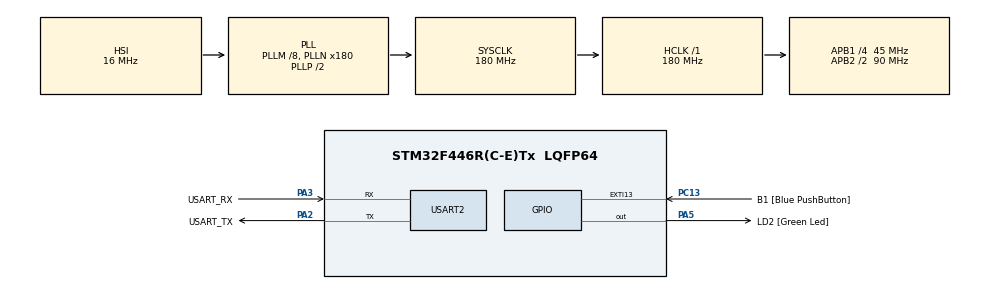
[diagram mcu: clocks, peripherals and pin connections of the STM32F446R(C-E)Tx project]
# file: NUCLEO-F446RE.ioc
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board=NUCLEO-F446RE2
Mcu.Family=STM32F4
Mcu.Name=STM32F446R(C-E)Tx
Mcu.Package=LQFP64
NVIC.PriorityGroup=NVIC_PRIORITYGROUP_0
PA13.GPIO_Label=TMS
PA13.Signal=SYS_JTMS-SWDIO
PA14.GPIO_Label=TCK
PA14.Signal=SYS_JTCK-SWCLK
PA2.GPIO_Label=USART_TX
PA2.Mode=Asynchronous
PA2.Signal=USART2_TX
PA3.GPIO_Label=USART_RX
PA3.GPIO_PuPd=GPIO_PULLUP
PA3.Mode=Asynchronous
PA3.Signal=USART2_RX
PA5.GPIO_Label=LD2 [Green Led]
PA5.Signal=GPIO_Output
PB3.GPIO_Label=SWO
PB3.Signal=SYS_JTDO-SWO
PC13.GPIO_Label=B1 [Blue PushButton]
PC13.GPIO_ModeDefaultEXTI=GPIO_MODE_IT_FALLING
PC13.Signal=GPXTI13
PC14-OSC32_IN.Signal=RCC_OSC32_IN
PC15-OSC32_OUT.Signal=RCC_OSC32_OUT
PH0-OSC_IN.Signal=RCC_OSC_IN
PH1-OSC_OUT.Signal=RCC_OSC_OUT
ProjectManager.HeapSize=0x800
ProjectManager.StackSize=0x800
ProjectManager.TargetToolchain=STM32CubeIDE
RCC.AHBFreq_Value=180000000
RCC.APB1CLKDivider=RCC_HCLK_DIV4
RCC.APB1Freq_Value=45000000
RCC.APB1TimFreq_Value=90000000
RCC.APB2CLKDivider=RCC_HCLK_DIV2
RCC.APB2Freq_Value=90000000
RCC.APB2TimFreq_Value=180000000
RCC.CortexFreq_Value=180000000
RCC.FLatency-AdvancedSettings=FLASH_LATENCY_5
RCC.HCLKFreq_Value=180000000
RCC.HSE_VALUE=8000000
RCC.HSI_VALUE=16000000
RCC.LSE_VALUE=32768
RCC.PLLM=8
RCC.PLLN=180
RCC.PLLP=2
RCC.SYSCLKFreq_VALUE=180000000
RCC.SYSCLKSource=RCC_SYSCLKSOURCE_PLLCLK
RCC.USBFreq_Value=180000000
RCC.VCOOutputFreq_Value=360000000
STMicroelectronics.X-CUBE-AI.10.1.0.ActivationBuffers=pool0
STMicroelectronics.X-CUBE-AI.10.1.0.ActivationBufferSizeList=8372
STMicroelectronics.X-CUBE-AI.10.1.0.ActivationNames=pool0
STMicroelectronics.X-CUBE-AI.10.1.0.ActivationSizes=AI_NETWORK_DATA_ACTIVATION_1_SIZE
STMicroelectronics.X-CUBE-AI.10.1.0.ApplicationCcDeviceJjApplication=SystemPerformance
STMicroelectronics.X-CUBE-AI.10.1.0.BSP.number=1
STMicroelectronics.X-CUBE-AI.10.1.0.copyWeightToRam=false
STMicroelectronics.X-CUBE-AI.10.1.0.copyWeightToRam-7f78f8ef4f7bd567a6e89b7250675164b12e4d13c60b7733bc87981643f2bb6e=false
STMicroelectronics.X-CUBE-AI.10.1.0.customLayerConfigEnabled=false
STMicroelectronics.X-CUBE-AI.10.1.0.customLayerConfigEnabled-7f78f8ef4f7bd567a6e89b7250675164b12e4d13c60b7733bc87981643f2bb6e=false
STMicroelectronics.X-CUBE-AI.10.1.0.ExternalRamActivationBufferMaxSize=8372
STMicroelectronics.X-CUBE-AI.10.1.0.HeapSize=0x800
STMicroelectronics.X-CUBE-AI.10.1.0.InternalRamActivationBufferMaxSize=AI_NETWORK_DATA_ACTIVATIONS_SIZE
STMicroelectronics.X-CUBE-AI.10.1.0.MaximumNumberOfInputLayer=1
STMicroelectronics.X-CUBE-AI.10.1.0.maximumNumberOfInputLayer=1
STMicroelectronics.X-CUBE-AI.10.1.0.MaximumNumberOfOutputLayer=1
STMicroelectronics.X-CUBE-AI.10.1.0.maximumNumberOfOutputLayer=1
STMicroelectronics.X-CUBE-AI.10.1.0.MaximumSizeOfInputLayer=1
STMicroelectronics.X-CUBE-AI.10.1.0.MaximumSizeOfOutputLayer=1
STMicroelectronics.X-CUBE-AI.10.1.0.memoryPool0driver-7f78f8ef4f7bd567a6e89b7250675164b12e4d13c60b7733bc87981643f2bb6e=RAM
STMicroelectronics.X-CUBE-AI.10.1.0.memoryPool0id-7f78f8ef4f7bd567a6e89b7250675164b12e4d13c60b7733bc87981643f2bb6e=0
STMicroelectronics.X-CUBE-AI.10.1.0.memoryPool0max-7f78f8ef4f7bd567a6e89b7250675164b12e4d13c60b7733bc87981643f2bb6e=128
STMicroelectronics.X-CUBE-AI.10.1.0.memoryPool0name-7f78f8ef4f7bd567a6e89b7250675164b12e4d13c60b7733bc87981643f2bb6e=POOL_0_RAM
STMicroelectronics.X-CUBE-AI.10.1.0.memoryPool0size-7f78f8ef4f7bd567a6e89b7250675164b12e4d13c60b7733bc87981643f2bb6e=114
STMicroelectronics.X-CUBE-AI.10.1.0.memoryPool0start-7f78f8ef4f7bd567a6e89b7250675164b12e4d13c60b7733bc87981643f2bb6e=0x20000000
STMicroelectronics.X-CUBE-AI.10.1.0.memoryPool0used-7f78f8ef4f7bd567a6e89b7250675164b12e4d13c60b7733bc87981643f2bb6e=0
STMicroelectronics.X-CUBE-AI.10.1.0.ModelActualCompression-7f78f8ef4f7bd567a6e89b7250675164b12e4d13c60b7733bc87981643f2bb6e=0.0
STMicroelectronics.X-CUBE-AI.10.1.0.ModelCompression-7f78f8ef4f7bd567a6e89b7250675164b12e4d13c60b7733bc87981643f2bb6e=Lossless
STMicroelectronics.X-CUBE-AI.10.1.0.ModelFlashOccupation-7f78f8ef4f7bd567a6e89b7250675164b12e4d13c60b7733bc87981643f2bb6e=26262
STMicroelectronics.X-CUBE-AI.10.1.0.ModelHashList=7f78f8ef4f7bd567a6e89b7250675164b12e4d13c60b7733bc87981643f2bb6e
STMicroelectronics.X-CUBE-AI.10.1.0.ModelKind-7f78f8ef4f7bd567a6e89b7250675164b12e4d13c60b7733bc87981643f2bb6e=TFLITE
STMicroelectronics.X-CUBE-AI.10.1.0.ModelMacc-7f78f8ef4f7bd567a6e89b7250675164b12e4d13c60b7733bc87981643f2bb6e=4013
STMicroelectronics.X-CUBE-AI.10.1.0.ModelName-7f78f8ef4f7bd567a6e89b7250675164b12e4d13c60b7733bc87981643f2bb6e=network
STMicroelectronics.X-CUBE-AI.10.1.0.ModelNameList=network
STMicroelectronics.X-CUBE-AI.10.1.0.ModelRamOccupation-7f78f8ef4f7bd567a6e89b7250675164b12e4d13c60b7733bc87981643f2bb6e=2516
STMicroelectronics.X-CUBE-AI.10.1.0.ModelStructureFile-7f78f8ef4f7bd567a6e89b7250675164b12e4d13c60b7733bc87981643f2bb6e=mnist_cnn.tflite
STMicroelectronics.X-CUBE-AI.10.1.0.ModelType-7f78f8ef4f7bd567a6e89b7250675164b12e4d13c60b7733bc87981643f2bb6e=STM32Cube.AI runtime
STMicroelectronics.X-CUBE-AI.10.1.0.noOnnxIoTranspose=false
STMicroelectronics.X-CUBE-AI.10.1.0.optimization-7f78f8ef4f7bd567a6e89b7250675164b12e4d13c60b7733bc87981643f2bb6e=ram
STMicroelectronics.X-CUBE-AI.10.1.0.ProjectManager.HeapSize=0x800
STMicroelectronics.X-CUBE-AI.10.1.0.ProjectManager.StackSize=0x800
STMicroelectronics.X-CUBE-AI.10.1.0.StackSize=0x800
STMicroelectronics.X-CUBE-AI.10.1.0.useInputAllocation=true
STMicroelectronics.X-CUBE-AI.10.1.0.useInputAllocation-7f78f8ef4f7bd567a6e89b7250675164b12e4d13c60b7733bc87981643f2bb6e=false
STMicroelectronics.X-CUBE-AI.10.1.0.useOutputAllocation=true
STMicroelectronics.X-CUBE-AI.10.1.0.useOutputAllocation-7f78f8ef4f7bd567a6e89b7250675164b12e4d13c60b7733bc87981643f2bb6e=false
STMicroelectronics.X-CUBE-AI.10.1.0.WorkingBufferStartAddrList=0xFFFFFFFF
STMicroelectronics.X-CUBE-AI.10.1.0.XAaCUBEAaAICcArtificialOoIntelligenceJjCore=true
STMicroelectronics.X-CUBE-AI.10.1.00.BSP.api=Unknown
STMicroelectronics.X-CUBE-AI.10.1.00.BSP.condition=\!SEMDeviceJjApplicationJjApplicationTemplate
STMicroelectronics.X-CUBE-AI.10.1.00.BSP.instance=USART2
STMicroelectronics.X-CUBE-AI.10.1.00.BSP.ip=USART
STMicroelectronics.X-CUBE-AI.10.1.00.BSP.mode=Asynchronous
STMicroelectronics.X-CUBE-AI.10.1.00.BSP.name=COM Port
STMicroelectronics.X-CUBE-AI.10.1.00.BSP.solution=USART2
STMicroelectronics.X-CUBE-AI.10.1.00.BSP.STBoard=false
USART2.VirtualMode=VM_ASYNC
VP_STMicroelectronics.X-CUBE-AI_VS_ArtificialOoIntelligenceJjXAaCUBEAaAI_10.1.0.Mode=ArtificialOoIntelligenceJjXAaCUBEAaAI
VP_STMicroelectronics.X-CUBE-AI_VS_DeviceJjApplication_10.1.0.Mode=DeviceJjApplication

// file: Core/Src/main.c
/* USER CODE BEGIN Header */
/**
  ******************************************************************************
  * @file           : main.c
  * @brief          : Main program body
  ******************************************************************************
  */
/* USER CODE END Header */
#include "main.h"
#include "app_x-cube-ai.h"

/* USER CODE BEGIN Includes */
#include "network.h"
#include "network_data.h"
#include <stdio.h>
/* USER CODE END Includes */

UART_HandleTypeDef huart2;

/* USER CODE BEGIN PV */

// =============================================================
// 1. AI MODEL DEĞİŞKENLERİ
// =============================================================
ai_handle network = AI_HANDLE_NULL;

// Modelin çalışırken RAM'de ihtiyaç duyduğu geçici alan (Activations)
ai_u8 activations[AI_NETWORK_DATA_ACTIVATIONS_SIZE];

// Çıktı verileri
float ai_output_data[10];

// Giriş ve Çıkış Buffer Pointerları
ai_buffer *ai_input;
ai_buffer *ai_output;

// Tahmin Sonuçları
int predicted_digit = -1;
float max_probability = 0.0f;

// =============================================================
// 2. TEST GÖRÜNTÜSÜ (PYTHON ÇIKTISI)
// =============================================================
// LÜTFEN PYTHON'DAN ALDIĞIN ÇIKTIYI BURAYA YAPIŞTIR
const float test_image_7[28 * 28 * 1] = {
		0.000000f, 0.000000f, 0.000000f, 0.000000f, 0.000000f, 0.000000f, 0.000000f, 0.000000f, 0.000000f, 0.000000f,
		0.000000f, 0.000000f, 0.000000f, 0.000000f, 0.000000f, 0.000000f, 0.000000f, 0.000000f, 0.000000f, 0.000000f,
		0.000000f, 0.000000f, 0.000000f, 0.000000f, 0.000000f, 0.000000f, 0.000000f, 0.000000f, 0.000000f, 0.000000f,
		0.000000f, 0.000000f, 0.000000f, 0.000000f, 0.000000f, 0.000000f, 0.000000f, 0.000000f, 0.000000f, 0.000000f,
		0.000000f, 0.000000f, 0.000000f, 0.000000f, 0.000000f, 0.000000f, 0.000000f, 0.000000f, 0.000000f, 0.000000f,
		0.000000f, 0.000000f, 0.000000f, 0.000000f, 0.000000f, 0.000000f, 0.000000f, 0.000000f, 0.000000f, 0.000000f,
		0.000000f, 0.000000f, 0.000000f, 0.000000f, 0.000000f, 0.000000f, 0.000000f, 0.000000f, 0.000000f, 0.000000f,
		0.000000f, 0.000000f, 0.000000f, 0.000000f, 0.000000f, 0.000000f, 0.000000f, 0.000000f, 0.000000f, 0.000000f,
		0.000000f, 0.000000f, 0.000000f, 0.000000f, 0.000000f, 0.000000f, 0.000000f, 0.000000f, 0.000000f, 0.000000f,
		0.000000f, 0.000000f, 0.000000f, 0.000000f, 0.000000f, 0.000000f, 0.000000f, 0.000000f, 0.000000f, 0.000000f,
		0.000000f, 0.000000f, 0.000000f, 0.000000f, 0.000000f, 0.000000f, 0.000000f, 0.000000f, 0.000000f, 0.000000f,
		0.000000f, 0.000000f, 0.000000f, 0.000000f, 0.000000f, 0.000000f, 0.000000f, 0.000000f, 0.000000f, 0.000000f,
		0.000000f, 0.000000f, 0.000000f, 0.000000f, 0.000000f, 0.000000f, 0.000000f, 0.000000f, 0.000000f, 0.000000f,
		0.000000f, 0.000000f, 0.000000f, 0.000000f, 0.000000f, 0.000000f, 0.000000f, 0.000000f, 0.000000f, 0.000000f,
		0.000000f, 0.000000f, 0.000000f, 0.000000f, 0.000000f, 0.000000f, 0.000000f, 0.000000f, 0.000000f, 0.000000f,
		0.000000f, 0.000000f, 0.000000f, 0.000000f, 0.000000f, 0.000000f, 0.000000f, 0.000000f, 0.000000f, 0.000000f,
		0.000000f, 0.000000f, 0.000000f, 0.000000f, 0.000000f, 0.000000f, 0.000000f, 0.000000f, 0.000000f, 0.000000f,
		0.000000f, 0.000000f, 0.000000f, 0.000000f, 0.000000f, 0.000000f, 0.000000f, 0.000000f, 0.000000f, 0.000000f,
		0.000000f, 0.000000f, 0.000000f, 0.000000f, 0.000000f, 0.000000f, 0.000000f, 0.000000f, 0.000000f, 0.000000f,
		0.000000f, 0.000000f, 0.000000f, 0.000000f, 0.000000f, 0.000000f, 0.000000f, 0.000000f, 0.000000f, 0.000000f,
		0.000000f, 0.000000f, 0.329412f, 0.725490f, 0.623529f, 0.592157f, 0.235294f, 0.141176f, 0.000000f, 0.000000f,
		0.000000f, 0.000000f, 0.000000f, 0.000000f, 0.000000f, 0.000000f, 0.000000f, 0.000000f, 0.000000f, 0.000000f,
		0.000000f, 0.000000f, 0.000000f, 0.000000f, 0.000000f, 0.000000f, 0.000000f, 0.000000f, 0.000000f, 0.000000f,
		0.870588f, 0.996078f, 0.996078f, 0.996078f, 0.996078f, 0.945098f, 0.776471f, 0.776471f, 0.776471f, 0.776471f,
		0.776471f, 0.776471f, 0.776471f, 0.776471f, 0.666667f, 0.203922f, 0.000000f, 0.000000f, 0.000000f, 0.000000f,
		0.000000f, 0.000000f, 0.000000f, 0.000000f, 0.000000f, 0.000000f, 0.000000f, 0.000000f, 0.262745f, 0.447059f,
		0.282353f, 0.447059f, 0.639216f, 0.890196f, 0.996078f, 0.882353f, 0.996078f, 0.996078f, 0.996078f, 0.980392f,
		0.898039f, 0.996078f, 0.996078f, 0.549020f, 0.000000f, 0.000000f, 0.000000f, 0.000000f, 0.000000f, 0.000000f,
		0.000000f, 0.000000f, 0.000000f, 0.000000f, 0.000000f, 0.000000f, 0.000000f, 0.000000f, 0.000000f, 0.000000f,
		0.000000f, 0.066667f, 0.258824f, 0.054902f, 0.262745f, 0.262745f, 0.262745f, 0.231373f, 0.082353f, 0.925490f,
		0.996078f, 0.415686f, 0.000000f, 0.000000f, 0.000000f, 0.000000f, 0.000000f, 0.000000f, 0.000000f, 0.000000f,
		0.000000f, 0.000000f, 0.000000f, 0.000000f, 0.000000f, 0.000000f, 0.000000f, 0.000000f, 0.000000f, 0.000000f,
		0.000000f, 0.000000f, 0.000000f, 0.000000f, 0.000000f, 0.000000f, 0.325490f, 0.992157f, 0.819608f, 0.070588f,
		0.000000f, 0.000000f, 0.000000f, 0.000000f, 0.000000f, 0.000000f, 0.000000f, 0.000000f, 0.000000f, 0.000000f,
		0.000000f, 0.000000f, 0.000000f, 0.000000f, 0.000000f, 0.000000f, 0.000000f, 0.000000f, 0.000000f, 0.000000f,
		0.000000f, 0.000000f, 0.000000f, 0.086275f, 0.913725f, 1.000000f, 0.325490f, 0.000000f, 0.000000f, 0.000000f,
		0.000000f, 0.000000f, 0.000000f, 0.000000f, 0.000000f, 0.000000f, 0.000000f, 0.000000f, 0.000000f, 0.000000f,
		0.000000f, 0.000000f, 0.000000f, 0.000000f, 0.000000f, 0.000000f, 0.000000f, 0.000000f, 0.000000f, 0.000000f,
		0.000000f, 0.505882f, 0.996078f, 0.933333f, 0.172549f, 0.000000f, 0.000000f, 0.000000f, 0.000000f, 0.000000f,
		0.000000f, 0.000000f, 0.000000f, 0.000000f, 0.000000f, 0.000000f, 0.000000f, 0.000000f, 0.000000f, 0.000000f,
		0.000000f, 0.000000f, 0.000000f, 0.000000f, 0.000000f, 0.000000f, 0.000000f, 0.000000f, 0.231373f, 0.976471f,
		0.996078f, 0.243137f, 0.000000f, 0.000000f, 0.000000f, 0.000000f, 0.000000f, 0.000000f, 0.000000f, 0.000000f,
		0.000000f, 0.000000f, 0.000000f, 0.000000f, 0.000000f, 0.000000f, 0.000000f, 0.000000f, 0.000000f, 0.000000f,
		0.000000f, 0.000000f, 0.000000f, 0.000000f, 0.000000f, 0.000000f, 0.521569f, 0.996078f, 0.733333f, 0.019608f,
		0.000000f, 0.000000f, 0.000000f, 0.000000f, 0.000000f, 0.000000f, 0.000000f, 0.000000f, 0.000000f, 0.000000f,
		0.000000f, 0.000000f, 0.000000f, 0.000000f, 0.000000f, 0.000000f, 0.000000f, 0.000000f, 0.000000f, 0.000000f,
		0.000000f, 0.000000f, 0.000000f, 0.035294f, 0.803922f, 0.972549f, 0.227451f, 0.000000f, 0.000000f, 0.000000f,
		0.000000f, 0.000000f, 0.000000f, 0.000000f, 0.000000f, 0.000000f, 0.000000f, 0.000000f, 0.000000f, 0.000000f,
		0.000000f, 0.000000f, 0.000000f, 0.000000f, 0.000000f, 0.000000f, 0.000000f, 0.000000f, 0.000000f, 0.000000f,
		0.000000f, 0.494118f, 0.996078f, 0.713726f, 0.000000f, 0.000000f, 0.000000f, 0.000000f, 0.000000f, 0.000000f,
		0.000000f, 0.000000f, 0.000000f, 0.000000f, 0.000000f, 0.000000f, 0.000000f, 0.000000f, 0.000000f, 0.000000f,
		0.000000f, 0.000000f, 0.000000f, 0.000000f, 0.000000f, 0.000000f, 0.000000f, 0.000000f, 0.294118f, 0.984314f,
		0.941176f, 0.223529f, 0.000000f, 0.000000f, 0.000000f, 0.000000f, 0.000000f, 0.000000f, 0.000000f, 0.000000f,
		0.000000f, 0.000000f, 0.000000f, 0.000000f, 0.000000f, 0.000000f, 0.000000f, 0.000000f, 0.000000f, 0.000000f,
		0.000000f, 0.000000f, 0.000000f, 0.000000f, 0.000000f, 0.074510f, 0.866667f, 0.996078f, 0.650980f, 0.000000f,
		0.000000f, 0.000000f, 0.000000f, 0.000000f, 0.000000f, 0.000000f, 0.000000f, 0.000000f, 0.000000f, 0.000000f,
		0.000000f, 0.000000f, 0.000000f, 0.000000f, 0.000000f, 0.000000f, 0.000000f, 0.000000f, 0.000000f, 0.000000f,
		0.000000f, 0.000000f, 0.011765f, 0.796078f, 0.996078f, 0.858824f, 0.137255f, 0.000000f, 0.000000f, 0.000000f,
		0.000000f, 0.000000f, 0.000000f, 0.000000f, 0.000000f, 0.000000f, 0.000000f, 0.000000f, 0.000000f, 0.000000f,
		0.000000f, 0.000000f, 0.000000f, 0.000000f, 0.000000f, 0.000000f, 0.000000f, 0.000000f, 0.000000f, 0.000000f,
		0.149020f, 0.996078f, 0.996078f, 0.301961f, 0.000000f, 0.000000f, 0.000000f, 0.000000f, 0.000000f, 0.000000f,
		0.000000f, 0.000000f, 0.000000f, 0.000000f, 0.000000f, 0.000000f, 0.000000f, 0.000000f, 0.000000f, 0.000000f,
		0.000000f, 0.000000f, 0.000000f, 0.000000f, 0.000000f, 0.000000f, 0.000000f, 0.121569f, 0.878431f, 0.996078f,
		0.450980f, 0.003922f, 0.000000f, 0.000000f, 0.000000f, 0.000000f, 0.000000f, 0.000000f, 0.000000f, 0.000000f,
		0.000000f, 0.000000f, 0.000000f, 0.000000f, 0.000000f, 0.000000f, 0.000000f, 0.000000f, 0.000000f, 0.000000f,
		0.000000f, 0.000000f, 0.000000f, 0.000000f, 0.000000f, 0.521569f, 0.996078f, 0.996078f, 0.203922f, 0.000000f,
		0.000000f, 0.000000f, 0.000000f, 0.000000f, 0.000000f, 0.000000f, 0.000000f, 0.000000f, 0.000000f, 0.000000f,
		0.000000f, 0.000000f, 0.000000f, 0.000000f, 0.000000f, 0.000000f, 0.000000f, 0.000000f, 0.000000f, 0.000000f,
		0.000000f, 0.000000f, 0.239216f, 0.949020f, 0.996078f, 0.996078f, 0.203922f, 0.000000f, 0.000000f, 0.000000f,
		0.000000f, 0.000000f, 0.000000f, 0.000000f, 0.000000f, 0.000000f, 0.000000f, 0.000000f, 0.000000f, 0.000000f,
		0.000000f, 0.000000f, 0.000000f, 0.000000f, 0.000000f, 0.000000f, 0.000000f, 0.000000f, 0.000000f, 0.000000f,
		0.474510f, 0.996078f, 0.996078f, 0.858824f, 0.156863f, 0.000000f, 0.000000f, 0.000000f, 0.000000f, 0.000000f,
		0.000000f, 0.000000f, 0.000000f, 0.000000f, 0.000000f, 0.000000f, 0.000000f, 0.000000f, 0.000000f, 0.000000f,
		0.000000f, 0.000000f, 0.000000f, 0.000000f, 0.000000f, 0.000000f, 0.000000f, 0.000000f, 0.474510f, 0.996078f,
		0.811765f, 0.070588f, 0.000000f, 0.000000f, 0.000000f, 0.000000f, 0.000000f, 0.000000f, 0.000000f, 0.000000f,
		0.000000f, 0.000000f, 0.000000f, 0.000000f, 0.000000f, 0.000000f, 0.000000f, 0.000000f, 0.000000f, 0.000000f,
		0.000000f, 0.000000f, 0.000000f, 0.000000f, 0.000000f, 0.000000f, 0.000000f, 0.000000f, 0.000000f, 0.000000f,
		0.000000f, 0.000000f, 0.000000f, 0.000000f, 0.000000f, 0.000000f, 0.000000f, 0.000000f, 0.000000f, 0.000000f,
		0.000000f, 0.000000f, 0.000000f, 0.000000f,
};

/* USER CODE END PV */

void SystemClock_Config(void);
static void MX_GPIO_Init(void);
void MX_USART2_UART_Init(void); // DÜZELTME: 'static' kelimesi kaldırıldı

int main(void)
{
  /* MCU Configuration--------------------------------------------------------*/

  /* Reset of all peripherals, Initializes the Flash interface and the Systick. */
  HAL_Init();

  /* Configure the system clock */
  SystemClock_Config();

  /* Initialize all configured peripherals */
  MX_GPIO_Init();
  MX_USART2_UART_Init();

  // NOT: Otomatik init fonksiyonunu kapattık, manuel yapıyoruz.
  // MX_X_CUBE_AI_Init();

  /* USER CODE BEGIN 2 */

  // =============================================================
  // 3. YAPAY ZEKA MODELİNİ MANUEL BAŞLATMA
  // =============================================================
  ai_error err;

  // DÜZELTME: Ağırlık verisini önce bir struct değişkenine atıyoruz
  const ai_buffer weights_config = AI_NETWORK_DATA_WEIGHTS(ai_network_data_weights_get());

  // Ağı oluştur (Artık struct'ın adresini '&' ile gönderiyoruz)
  err = ai_network_create(&network, &weights_config);

  if (err.type != AI_ERROR_NONE) {
      // Hata: Model oluşturulamadı
      while(1);
  }

  // Parametreleri ayarla
  const ai_network_params params = AI_NETWORK_PARAMS_INIT(
      AI_NETWORK_DATA_WEIGHTS(ai_network_data_weights_get()),
      AI_NETWORK_DATA_ACTIVATIONS(activations)
  );

  // Ağı init et
  if (!ai_network_init(network, &params)) {
      // Hata: Init başarısız
      while(1);
  }

  // Input ve Output buffer adreslerini al
  ai_input = ai_network_inputs_get(network, NULL);
  ai_output = ai_network_outputs_get(network, NULL);

  /* USER CODE END 2 */

  /* Infinite loop */
  while (1)
  {

    // MX_X_CUBE_AI_Process(); // Bunu kapalı tutuyoruz

    /* USER CODE BEGIN 3 */

    // =============================================================
    // 4. ÇIKARIM (INFERENCE)
    // =============================================================

    // a) Giriş Verisini Bağla
    ai_input[0].data = AI_HANDLE_PTR(test_image_7);

    // b) Çıkış Verisini Bağla
    ai_output[0].data = AI_HANDLE_PTR(ai_output_data);

    // c) Modeli Çalıştır
    ai_i32 batch = ai_network_run(network, ai_input, ai_output);

    if (batch != 1) {
        // Hata
    }

    // =============================================================
    // 5. SONUCU BULMA
    // =============================================================
    max_probability = 0.0f;
    predicted_digit = -1;

    for (int i = 0; i < 10; i++) {
        if (ai_output_data[i] > max_probability) {
            max_probability = ai_output_data[i];
            predicted_digit = i;
        }
    }

    // LED Yakıp Söndür (Loop çalıştığını gösterir)
    HAL_GPIO_TogglePin(LD2_GPIO_Port, LD2_Pin);
    HAL_Delay(1000);
  }
  /* USER CODE END 3 */
}

void SystemClock_Config(void)
{
  RCC_OscInitTypeDef RCC_OscInitStruct = {0};
  RCC_ClkInitTypeDef RCC_ClkInitStruct = {0};

  /** Configure the main internal regulator output voltage
  */
  __HAL_RCC_PWR_CLK_ENABLE();
  __HAL_PWR_VOLTAGESCALING_CONFIG(PWR_REGULATOR_VOLTAGE_SCALE1);

  /** Initializes the RCC Oscillators according to the specified parameters
  * in the RCC_OscInitTypeDef structure.
  */
  RCC_OscInitStruct.OscillatorType = RCC_OSCILLATORTYPE_HSI;
  RCC_OscInitStruct.HSIState = RCC_HSI_ON;
  RCC_OscInitStruct.HSICalibrationValue = RCC_HSICALIBRATION_DEFAULT;
  RCC_OscInitStruct.PLL.PLLState = RCC_PLL_ON;
  RCC_OscInitStruct.PLL.PLLSource = RCC_PLLSOURCE_HSI;
  RCC_OscInitStruct.PLL.PLLM = 8;
  RCC_OscInitStruct.PLL.PLLN = 180;
  RCC_OscInitStruct.PLL.PLLP = 2;
  RCC_OscInitStruct.PLL.PLLQ = 2;
  RCC_OscInitStruct.PLL.PLLR = 2;
  if (HAL_RCC_OscConfig(&RCC_OscInitStruct) != HAL_OK)
  {
    Error_Handler();
  }

  /** Activate the Over-Drive mode
  */
  if (HAL_PWREx_EnableOverDrive() != HAL_OK)
  {
    Error_Handler();
  }

  /** Initializes the CPU, AHB and APB buses clocks
  */
  RCC_ClkInitStruct.ClockType = RCC_CLOCKTYPE_HCLK|RCC_CLOCKTYPE_SYSCLK
                              |RCC_CLOCKTYPE_PCLK1|RCC_CLOCKTYPE_PCLK2;
  RCC_ClkInitStruct.SYSCLKSource = RCC_SYSCLKSOURCE_PLLCLK;
  RCC_ClkInitStruct.AHBCLKDivider = RCC_SYSCLK_DIV1;
  RCC_ClkInitStruct.APB1CLKDivider = RCC_HCLK_DIV4;
  RCC_ClkInitStruct.APB2CLKDivider = RCC_HCLK_DIV2;

  if (HAL_RCC_ClockConfig(&RCC_ClkInitStruct, FLASH_LATENCY_5) != HAL_OK)
  {
    Error_Handler();
  }
}

void MX_USART2_UART_Init(void)
{
  huart2.Instance = USART2;
  huart2.Init.BaudRate = 115200;
  huart2.Init.WordLength = UART_WORDLENGTH_8B;
  huart2.Init.StopBits = UART_STOPBITS_1;
  huart2.Init.Parity = UART_PARITY_NONE;
  huart2.Init.Mode = UART_MODE_TX_RX;
  huart2.Init.HwFlowCtl = UART_HWCONTROL_NONE;
  huart2.Init.OverSampling = UART_OVERSAMPLING_16;
  if (HAL_UART_Init(&huart2) != HAL_OK)
  {
    Error_Handler();
  }
}

static void MX_GPIO_Init(void)
{
  GPIO_InitTypeDef GPIO_InitStruct = {0};

  /* GPIO Ports Clock Enable */
  __HAL_RCC_GPIOC_CLK_ENABLE();
  __HAL_RCC_GPIOH_CLK_ENABLE();
  __HAL_RCC_GPIOA_CLK_ENABLE();
  __HAL_RCC_GPIOB_CLK_ENABLE();

  /*Configure GPIO pin Output Level */
  HAL_GPIO_WritePin(LD2_GPIO_Port, LD2_Pin, GPIO_PIN_RESET);

  /*Configure GPIO pin : B1_Pin */
  GPIO_InitStruct.Pin = B1_Pin;
  GPIO_InitStruct.Mode = GPIO_MODE_IT_FALLING;
  GPIO_InitStruct.Pull = GPIO_NOPULL;
  HAL_GPIO_Init(B1_GPIO_Port, &GPIO_InitStruct);

  /*Configure GPIO pin : LD2_Pin */
  GPIO_InitStruct.Pin = LD2_Pin;
  GPIO_InitStruct.Mode = GPIO_MODE_OUTPUT_PP;
  GPIO_InitStruct.Pull = GPIO_NOPULL;
  GPIO_InitStruct.Speed = GPIO_SPEED_FREQ_LOW;
  HAL_GPIO_Init(LD2_GPIO_Port, &GPIO_InitStruct);
}

void Error_Handler(void)
{
  __disable_irq();
  while (1)
  {
  }
}
